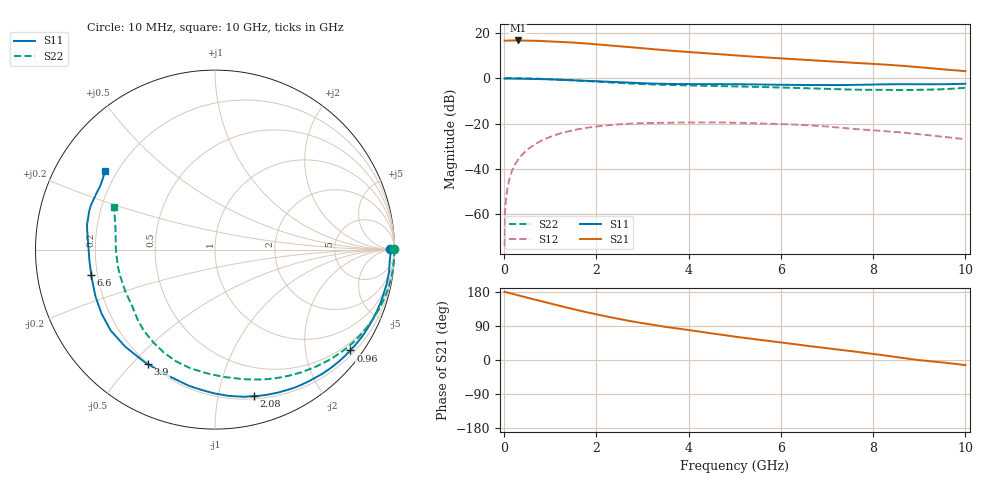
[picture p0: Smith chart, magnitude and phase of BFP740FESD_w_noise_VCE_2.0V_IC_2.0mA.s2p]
! Infineon Technologies  Discrete & RF Semiconductors
! BFP740FESD
! VCE =  2.0 V,  IC =  2.0 mA
! Common Emitter S-Parameters:  Jan 2016
# GHz  S  MA  R  50
!  f  S11  S21  S12  S22
! GHz  MAG  ANG  MAG  ANG  MAG  ANG  MAG  ANG
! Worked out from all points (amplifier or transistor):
!   233 points, 10 MHz to 10 GHz, reference 50 ohm
!   highest |S21| = 16.6 dB at 300 MHz (marker M1)
!   |S21| within 3 dB of that: start of sweep to 2.769 GHz
!   unconditionally stable (mu >= 1): start of sweep to 10.16 MHz; 8.494 GHz to end of sweep
!   at 200 MHz: K = 0.00, MSG = 28.0 dB, |S12| = -39.5 dB
!   at 1.74 GHz: K = 0.12, MSG = 18.7 dB, |S12| = -22.0 dB
!   at 10 GHz: K = 1.70, MAG = 10.1 dB, |S12| = -26.9 dB
!   lowest NFmin = 0.40 dB at 450 MHz
!   S11 on the Smith chart (normalised r, x): 10 MHz: 74, +5; 960 MHz: 0.31, -2.99; 2.08 GHz: 0.22, -1.28; 3.9 GHz: 0.20, -0.56; 6.6 GHz: 0.18, -0.10; 10 GHz: 0.16, +0.31
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0.01  0.9735 0.1  6.699 179.6  0.0002 3.3  0.997 0.2
0.015  0.9764 -0.3  6.679 179.6  0.0006 80.9  0.9983 -0.2
0.02  0.9794 -0.7  6.659 179.6  0.0011 91.1  0.9997 -0.6
0.06  0.9774 -2.2  6.676 178.2  0.0032 89.0  0.9992 -1.7
0.155  0.9767 -6.2  6.741 175.4  0.0083 85.7  0.9985 -4.4
0.3  0.9752 -11.6  6.743 170.8  0.0159 82.2  0.9949 -8.5
0.7  0.9572 -27.0  6.636 158.4  0.0366 71.1  0.9733 -19.8
0.96  0.9404 -36.7  6.477 150.4  0.0491 63.9  0.9513 -27.1
1.38  0.9065 -52.2  6.161 137.6  0.067 52.6  0.9066 -38.9
1.68  0.88 -62.5  5.888 129.1  0.0774 44.9  0.8716 -46.8
2.08  0.845 -75.0  5.466 118.6  0.0879 35.6  0.8264 -56.8
2.4  0.8191 -84.5  5.155 110.5  0.0948 28.8  0.7931 -64.6
2.8  0.7849 -95.7  4.743 101.3  0.1003 20.8  0.7547 -73.6
3.4  0.7506 -109.8  4.18 89.5  0.1038 10.7  0.7148 -84.5
3.9  0.7391 -120.3  3.815 80.7  0.1052 3.9  0.6943 -92.0
4.5  0.7368 -132.7  3.458 70.2  0.1063 -4.0  0.676 -101.4
5.1  0.7323 -143.8  3.119 60.2  0.1038 -11.8  0.6552 -110.5
6.6  0.7035 -168.5  2.511 37.0  0.0917 -29.1  0.5969 -132.5
6.8  0.7018 -171.7  2.435 34.0  0.0887 -31.2  0.5884 -135.2
8.4  0.7329 163.1  1.943 9.4  0.0663 -40.5  0.549 -165.2
9  0.7312 155.3  1.741 -0.5  0.0582 -43.1  0.5527 179.7
10  0.7517 144.5  1.424 -13.5  0.0451 -41.4  0.6111 157.0
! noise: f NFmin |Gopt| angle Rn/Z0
0.45  0.4  0.8  7  0.23
2.4  0.69  0.53  46  0.21
5.5  1  0.56  124  0.11
10  2.12  0.55  -145  0.17
